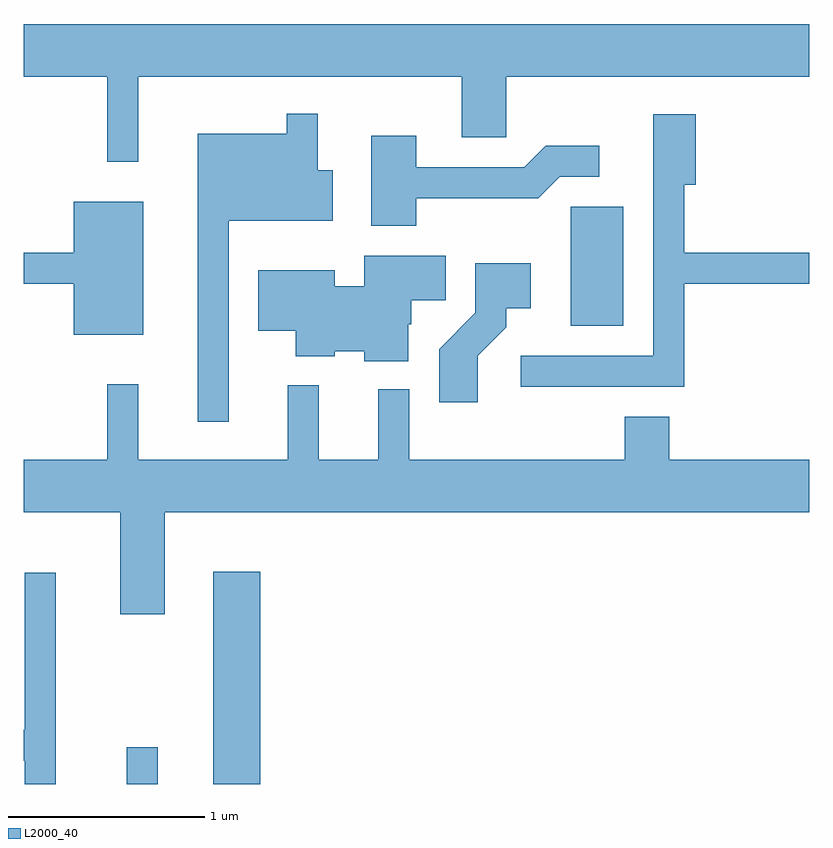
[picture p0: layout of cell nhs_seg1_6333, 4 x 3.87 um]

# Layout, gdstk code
import gdstk
lib = gdstk.Library(unit=1e-6, precision=1e-09)
def R(c, l, rs):  # rectangles x0, y0, x1, y1
    for r in rs: c.add(gdstk.rectangle(r[:2], r[2:], *l))
def P(c, l, *ps):  # polygons
    for p in ps: c.add(gdstk.Polygon(p, *l))
L2000_40 = (2000, 40)

nhs_seg1_6333 = lib.new_cell('nhs_seg1_6333')
R(nhs_seg1_6333, L2000_40, [(376.136,933.712,376.294,933.898), (376.576,933.712,376.814,934.794), (378.396,936.046,378.664,936.654)])
P(nhs_seg1_6333, L2000_40, [(376.194,937.316),(377.841,937.316),(377.841,937.006),(378.069,937.006),(378.069,937.316),(379.611,937.316),(379.611,937.584),(375.611,937.584),(375.611,937.316),(376.036,937.316),(376.036,936.883),(376.194,936.883)],
  [(376.654,936.581),(377.184,936.581),(377.184,936.839),(377.109,936.839),(377.109,937.128),(376.951,937.128),(376.951,937.024),(376.496,937.024),(376.496,935.558),(376.654,935.558)],
  [(378.974,936.261),(379.611,936.261),(379.611,936.419),(378.974,936.419),(378.974,936.766),(379.034,936.766),(379.034,937.124),(378.816,937.124),(378.816,935.894),(378.143,935.894),(378.143,935.736),(378.974,935.736)],
  [(377.609,936.696),(378.232,936.696),(378.342,936.806),(378.543,936.806),(378.543,936.964),(378.269,936.964),(378.159,936.854),(377.609,936.854),(377.609,937.014),(377.381,937.014),(377.381,936.556),(377.609,936.556)],
  [(376.219,936.679),(375.866,936.679),(375.866,936.419),(375.611,936.419),(375.611,936.261),(375.866,936.261),(375.866,936.001),(376.219,936.001)],
  [(377.569,936.055),(377.584,936.055),(377.584,936.176),(377.759,936.176),(377.759,936.404),(377.346,936.404),(377.346,936.249),(377.194,936.249),(377.194,936.329),(376.806,936.329),(376.806,936.021),(376.996,936.021),(376.996,935.891),(377.194,935.891),(377.194,935.916),(377.346,935.916),(377.346,935.866),(377.569,935.866)],
  [(377.924,935.894),(378.069,936.039),(378.069,936.136),(378.194,936.136),(378.194,936.364),(377.911,936.364),(377.911,936.112),(377.726,935.927),(377.726,935.656),(377.924,935.656)],
  [(376.329,935.096),(379.611,935.096),(379.611,935.364),(378.899,935.364),(378.899,935.584),(378.671,935.584),(378.671,935.364),(377.574,935.364),(377.574,935.723),(377.416,935.723),(377.416,935.364),(377.114,935.364),(377.114,935.743),(376.956,935.743),(376.956,935.364),(376.194,935.364),(376.194,935.748),(376.036,935.748),(376.036,935.364),(375.611,935.364),(375.611,935.096),(376.101,935.096),(376.101,934.576),(376.329,934.576)],
  [(375.774,934.788),(375.616,934.788),(375.616,933.989),(375.611,933.989),(375.611,933.831),(375.616,933.831),(375.616,933.712),(375.774,933.712)])

lib.write_gds('nhs_seg1_6333.gds')
